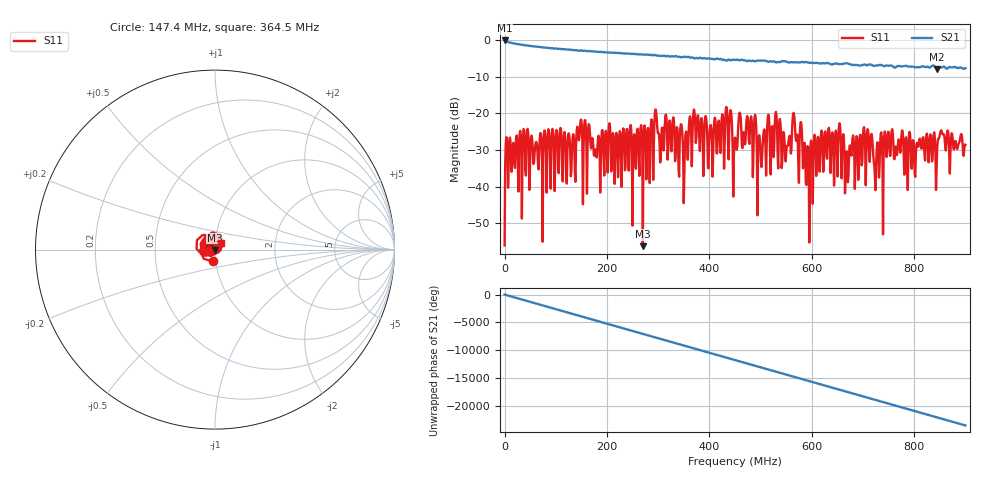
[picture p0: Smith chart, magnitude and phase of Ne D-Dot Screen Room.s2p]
! NanoVNA-App
! Date: 2026-10-30 14:47:00
! Start: 50kHz Stop: 900MHz Points: 801
! S-Parameter data: F S11 S21 S12 S22
# Hz S RI R 50
!  Frequency  S11_Real  S11_Imag  S21_Real  S21_Imag  S12_Real  S12_Imag  S22_Real  S22_Imag
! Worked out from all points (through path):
!   801 points, 50 kHz to 900 MHz, reference 50 ohm
!   highest |S21| = -0.04 dB at 50 kHz (marker M1); lowest = -7.8 dB at 844.9 MHz (marker M2)
!   lowest |S11| = -56.3 dB at 270 MHz (marker M3), VSWR 1.00, Z = 50 - j0.153 ohm
!   |S11| at or under -10 dB: start of sweep to end of sweep
!   S12 and S22 are empty: the file has one direction only
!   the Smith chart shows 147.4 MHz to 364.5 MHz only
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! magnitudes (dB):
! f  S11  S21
! 50 kHz  -56.1  0.0
! 6.8 MHz  -40.3  -0.5
! 150.8 MHz  -23.3  -2.8
! 270 MHz  -56.3  -3.9
! 300.4 MHz  -25.4  -4.2
! 353.3 MHz  -25.9  -4.5
! 372.4 MHz  -23.2  -4.9
! 401.7 MHz  -23.4  -5.0
! 436.5 MHz  -28.4  -5.3
! 450 MHz  -26.6  -5.4
! 459 MHz  -19.8  -5.5
! 486 MHz  -30.1  -5.6
! 498.4 MHz  -27.0  -5.5
! 565.9 MHz  -20.9  -6.0
! 591.8 MHz  -29.0  -6.1
! 600.8 MHz  -32.9  -6.1
! 712.1 MHz  -30.8  -6.6
! 726.8 MHz  -29.9  -6.9
! 750.4 MHz  -25.2  -6.9
! 844.9 MHz  -29.7  -7.8
! 853.9 MHz  -24.9  -7.4
! 900 MHz  -28.6  -7.6
